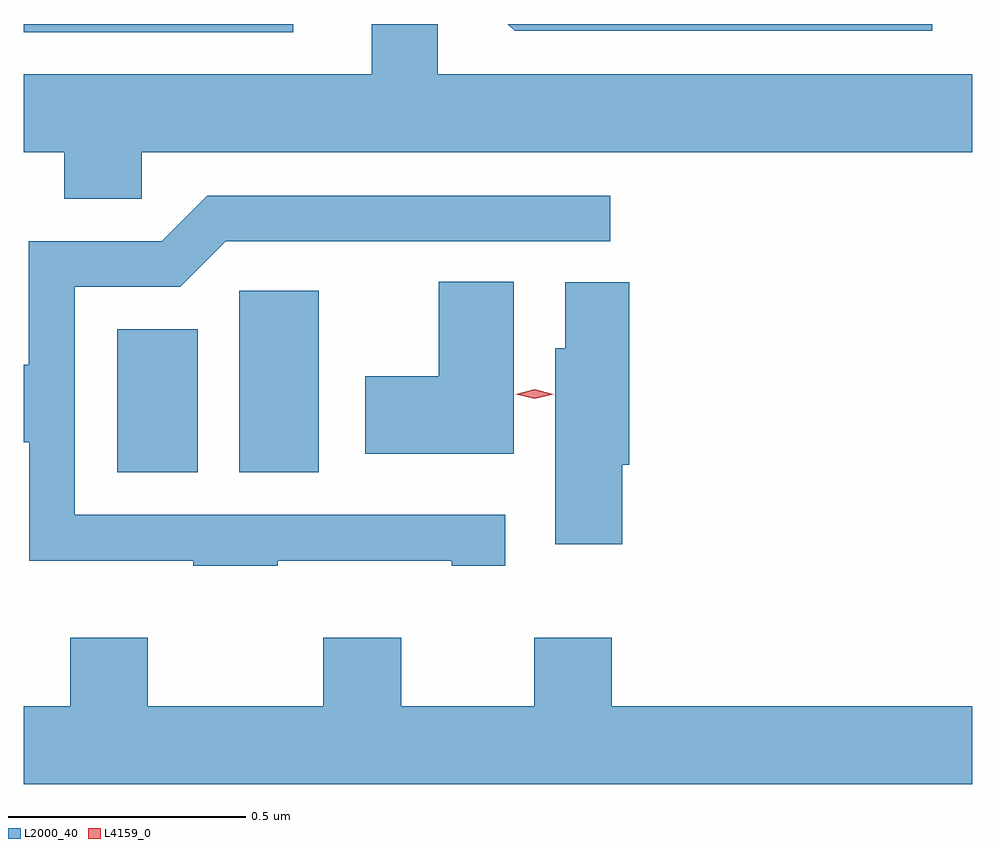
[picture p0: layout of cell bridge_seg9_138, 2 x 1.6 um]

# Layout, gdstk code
import gdstk
lib = gdstk.Library(unit=1e-6, precision=1e-09)
def R(c, l, rs):  # rectangles x0, y0, x1, y1
    for r in rs: c.add(gdstk.rectangle(r[:2], r[2:], *l))
def P(c, l, *ps):  # polygons
    for p in ps: c.add(gdstk.Polygon(p, *l))
L2000_40 = (2000, 40)
L4159_0 = (4159, 0)

bridge_seg9_138 = lib.new_cell('bridge_seg9_138')
R(bridge_seg9_138, L2000_40, [(470.798,1226.381,470.968,1226.683), (471.056,1226.381,471.223,1226.764), (470.601,1227.309,471.169,1227.326)])
P(bridge_seg9_138, L2000_40, [(470.85,1227.056),(472.601,1227.056),(472.601,1227.22),(471.474,1227.22),(471.474,1227.326),(471.335,1227.326),(471.335,1227.22),(470.601,1227.22),(470.601,1227.056),(470.687,1227.056),(470.687,1226.958),(470.85,1226.958)],
  [(472.516,1227.326),(471.622,1227.326),(471.636,1227.312),(472.516,1227.312)],
  [(471.137,1226.195),(471.503,1226.195),(471.503,1226.184),(471.616,1226.184),(471.616,1226.292),(470.709,1226.292),(470.709,1226.772),(470.931,1226.772),(471.027,1226.868),(471.838,1226.868),(471.838,1226.964),(470.988,1226.964),(470.892,1226.868),(470.612,1226.868),(470.612,1226.608),(470.601,1226.608),(470.601,1226.444),(470.613,1226.444),(470.613,1226.195),(470.959,1226.195),(470.959,1226.184),(471.137,1226.184)],
  [(471.634,1226.783),(471.476,1226.783),(471.476,1226.584),(471.321,1226.584),(471.321,1226.42),(471.634,1226.42)],
  [(471.863,1226.397),(471.878,1226.397),(471.878,1226.782),(471.743,1226.782),(471.743,1226.643),(471.722,1226.643),(471.722,1226.229),(471.863,1226.229)],
  [(472.601,1225.888),(471.841,1225.888),(471.841,1226.032),(471.677,1226.032),(471.677,1225.888),(471.397,1225.888),(471.397,1226.032),(471.233,1226.032),(471.233,1225.888),(470.863,1225.888),(470.863,1226.032),(470.699,1226.032),(470.699,1225.888),(470.601,1225.888),(470.601,1225.724),(472.601,1225.724)])
P(bridge_seg9_138, L4159_0, [(471.678,1226.536),(471.638,1226.546),(471.638,1226.546),(471.638,1226.546),(471.678,1226.556),(471.717,1226.546),(471.718,1226.546),(471.717,1226.546)])

lib.write_gds('bridge_seg9_138.gds')
